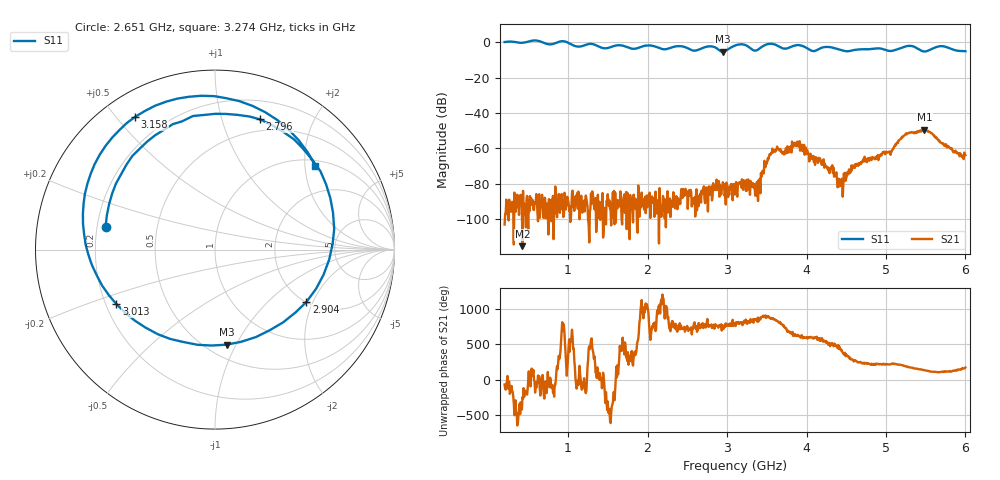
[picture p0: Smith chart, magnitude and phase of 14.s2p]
! NanoVNA-App
! Date: 2024-06-25 16:11:08
! Start: 200MHz Stop: 6GHz Points: 801
! S-Parameter data: F S11 S21 S12 S22
# Hz S RI R 50
!  Frequency  S11_Real  S11_Imag  S21_Real  S21_Imag  S12_Real  S12_Imag  S22_Real  S22_Imag
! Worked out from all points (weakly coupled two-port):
!   801 points, 200 MHz to 6 GHz, reference 50 ohm
!   highest |S21| = -49.47 dB at 5.485 GHz (marker M1); lowest = -115.1 dB at 424.8 MHz (marker M2)
!   lowest |S11| = -5.5 dB at 2.948 GHz (marker M3), VSWR 3.29, Z = 31 - j45.9 ohm
!   |S11| at or under -10 dB: nowhere
!   S12 and S22 are empty: the file has one direction only
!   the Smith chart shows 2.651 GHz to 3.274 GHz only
!   S11 on the Smith chart (normalised r, x): 2.651 GHz: 0.23, +0.10; 2.796 GHz: 0.38, +1.33; 2.904 GHz: 2.01, -1.79; 3.013 GHz: 0.24, -0.24; 3.158 GHz: 0.10, +0.56; 3.274 GHz: 1.13, +2.27
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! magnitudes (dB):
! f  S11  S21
! 200 MHz  0.0  -102.9
! 424.8 MHz  -0.4  -115.1
! 1.171 GHz  -2.3  -92.2
! 2.136 GHz  -3.1  -89.0
! 2.651 GHz  -4.1  -86.6
! 2.796 GHz  -2.3  -83.5
! 2.904 GHz  -4.6  -87.2
! 2.948 GHz  -5.5  -79.0
! 3.013 GHz  -4.0  -87.4
! 3.1 GHz  -1.9  -86.0
! 3.158 GHz  -1.3  -79.4
! 3.274 GHz  -2.7  -80.9
! 3.39 GHz  -4.2  -89.6
! 3.6 GHz  -1.3  -60.7
! 3.883 GHz  -1.6  -56.1
! 4.072 GHz  -5.0  -64.8
! 4.434 GHz  -4.5  -81.0
! 4.608 GHz  -4.4  -70.9
! 5.036 GHz  -4.9  -62.2
! 5.253 GHz  -2.4  -51.5
! 5.485 GHz  -5.3  -49.5
! 6 GHz  -5.1  -63.8
